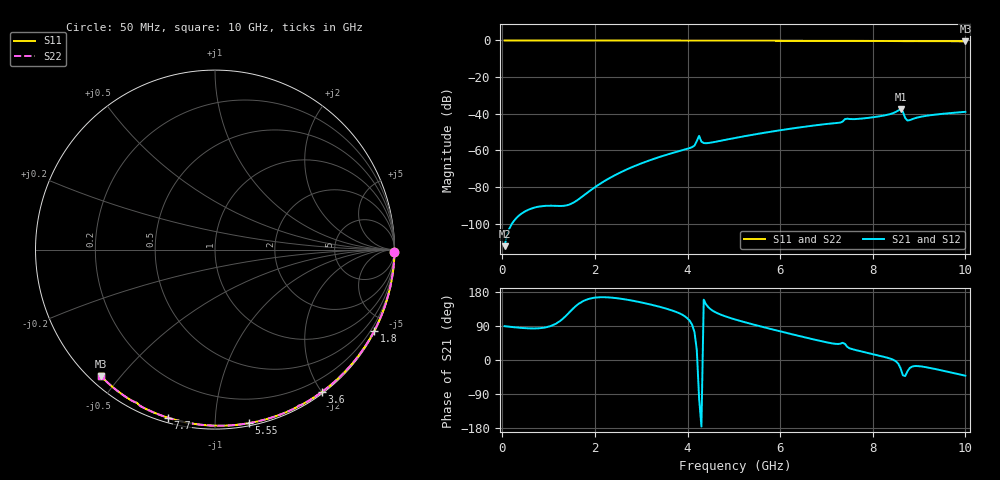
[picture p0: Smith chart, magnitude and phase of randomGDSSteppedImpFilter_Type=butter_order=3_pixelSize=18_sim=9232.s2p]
! freq	dB(S11)	phase(S11)	dB(S12)	phase(S12)
!  dB(S21)	phase(S21)	dB(S22)	phase(S22)
!S-par simulation data
#  GHz  S  DB  R 50
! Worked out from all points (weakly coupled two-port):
!   200 points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, 50 MHz to 10 GHz, reference 50 ohm
!   highest |S21| = -37.64 dB at 8.6 GHz (marker M1); lowest = -112.2 dB at 50 MHz (marker M2)
!   lowest |S11| = -0.5 dB at 10 GHz (marker M3), VSWR 38.43, Z = 1.56 - j22.2 ohm
!   |S11| at or under -10 dB: nowhere
!   |S22| runs from -0.5 to 0.0 dB; largest |S21 - S12| = 0
!   S11 on the Smith chart (normalised r, x): 50 MHz: open; 1.8 GHz: 0.04, -4.15; 3.6 GHz: 0.02, -2.01; 5.55 GHz: 0.02, -1.21; 7.7 GHz: 0.02, -0.76; 10 GHz: 0.03, -0.44
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0.05  -0.00 -0.8  -112.24 89.3  -112.24 89.3  -0.00 -0.8
1.75  -0.03 -26.3  -84.74 155.8  -84.74 155.8  -0.03 -26.3
1.8  -0.03 -27.1  -83.75 158.3  -83.75 158.3  -0.03 -27.1
2  -0.04 -30.0  -80.08 164.5  -80.08 164.5  -0.04 -30.0
2.65  -0.05 -39.5  -70.81 160.0  -70.81 160.0  -0.05 -39.5
3.4  -0.07 -50.1  -63.53 140.4  -63.53 140.4  -0.07 -50.1
3.6  -0.07 -52.9  -61.96 133.3  -61.96 133.3  -0.07 -52.9
4.1  -0.08 -59.9  -58.18 92.6  -58.18 92.6  -0.08 -59.9
4.15  -0.09 -60.6  -57.37 73.8  -57.37 73.8  -0.09 -60.6
4.25  -0.12 -61.8  -52.05 -101.7  -52.05 -101.7  -0.12 -61.8
4.3  -0.09 -62.5  -55.19 -175.7  -55.19 -175.7  -0.09 -62.5
4.4  -0.09 -63.9  -56.06 146.8  -56.06 146.8  -0.09 -63.9
5.05  -0.11 -72.5  -53.09 106.2  -53.09 106.2  -0.11 -72.5
5.55  -0.13 -79.0  -50.82 89.5  -50.82 89.5  -0.13 -79.0
6.7  -0.18 -93.5  -46.50 55.0  -46.50 55.0  -0.18 -93.5
7.45  -0.23 -102.6  -42.67 34.5  -42.67 34.5  -0.23 -102.6
7.7  -0.24 -105.5  -42.77 24.3  -42.77 24.3  -0.24 -105.5
8.35  -0.29 -113.2  -40.35 4.8  -40.35 4.8  -0.29 -113.3
8.6  -0.34 -116.4  -37.64 -21.9  -37.64 -21.9  -0.33 -116.4
8.75  -0.36 -117.7  -43.69 -29.6  -43.69 -29.6  -0.36 -117.7
9.15  -0.37 -122.3  -41.13 -19.0  -41.13 -19.0  -0.37 -122.3
10  -0.45 -132.0  -38.95 -41.5  -38.95 -41.5  -0.45 -132.0
